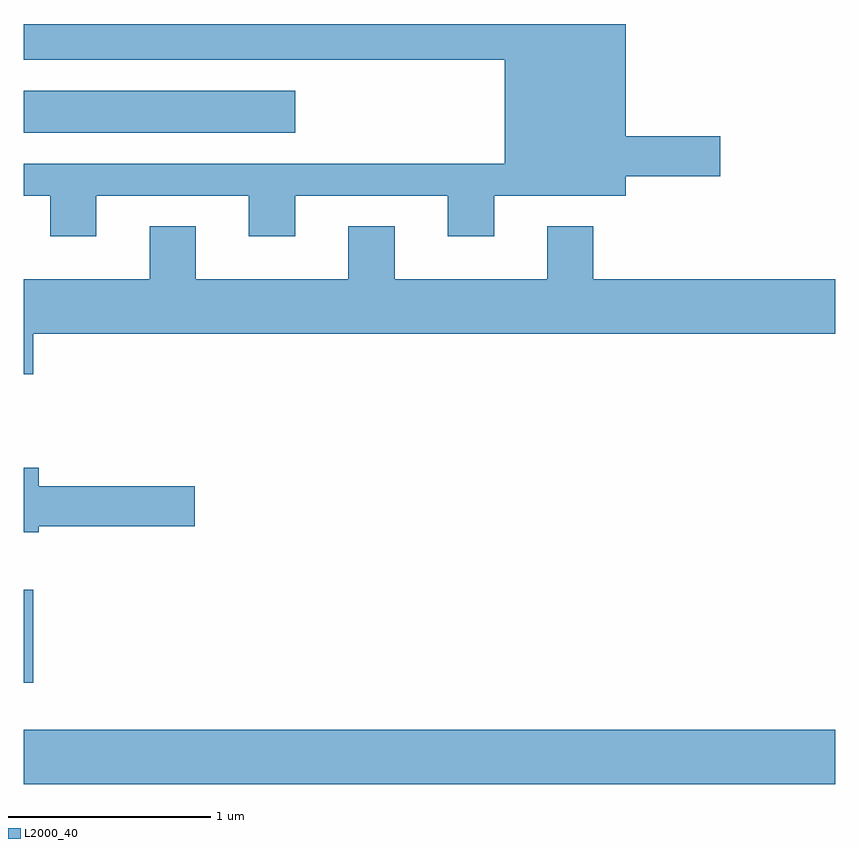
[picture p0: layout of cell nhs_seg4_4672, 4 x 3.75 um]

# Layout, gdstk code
import gdstk
lib = gdstk.Library(unit=1e-6, precision=1e-09)
def R(c, l, rs):  # rectangles x0, y0, x1, y1
    for r in rs: c.add(gdstk.rectangle(r[:2], r[2:], *l))
def P(c, l, *ps):  # polygons
    for p in ps: c.add(gdstk.Polygon(p, *l))
L2000_40 = (2000, 40)

nhs_seg4_4672 = lib.new_cell('nhs_seg4_4672')
R(nhs_seg4_4672, L2000_40, [(321.611,1350.236,325.611,1350.504), (321.611,1350.736,321.659,1351.194), (321.611,1353.446,322.949,1353.654)])
P(nhs_seg4_4672, L2000_40, [(321.969,1353.136),(322.721,1353.136),(322.721,1352.936),(322.949,1352.936),(322.949,1353.136),(323.701,1353.136),(323.701,1352.936),(323.929,1352.936),(323.929,1353.136),(324.579,1353.136),(324.579,1353.231),(325.044,1353.231),(325.044,1353.429),(324.579,1353.429),(324.579,1353.982),(321.611,1353.982),(321.611,1353.806),(323.981,1353.806),(323.981,1353.294),(321.611,1353.294),(321.611,1353.136),(321.741,1353.136),(321.741,1352.936),(321.969,1352.936)],
  [(321.659,1352.456),(325.611,1352.456),(325.611,1352.724),(324.419,1352.724),(324.419,1352.984),(324.191,1352.984),(324.191,1352.724),(323.439,1352.724),(323.439,1352.984),(323.211,1352.984),(323.211,1352.724),(322.459,1352.724),(322.459,1352.984),(322.231,1352.984),(322.231,1352.724),(321.611,1352.724),(321.611,1352.256),(321.659,1352.256)],
  [(321.684,1351.506),(322.454,1351.506),(322.454,1351.704),(321.684,1351.704),(321.684,1351.794),(321.611,1351.794),(321.611,1351.476),(321.684,1351.476)])

lib.write_gds('nhs_seg4_4672.gds')
